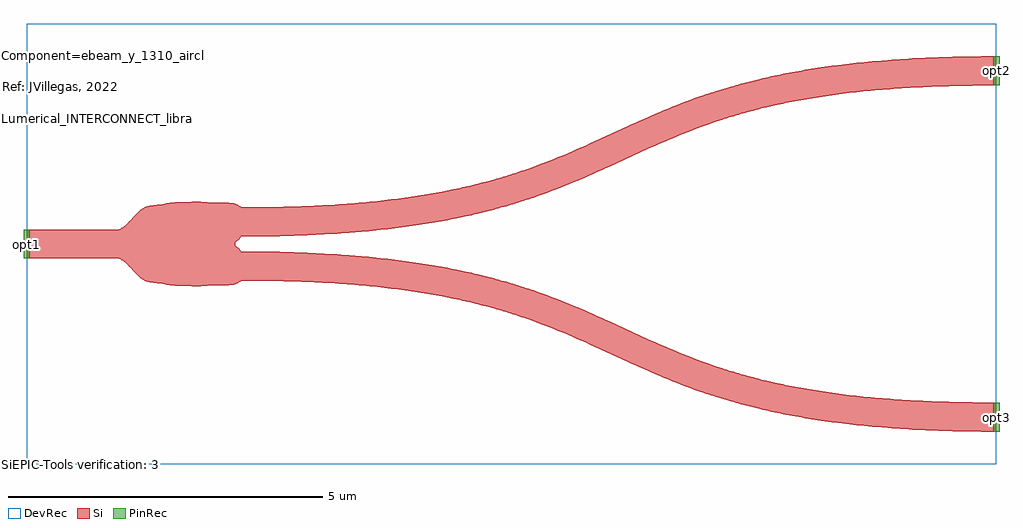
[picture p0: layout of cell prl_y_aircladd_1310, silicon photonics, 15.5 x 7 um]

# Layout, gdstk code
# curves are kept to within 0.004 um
import gdstk
lib = gdstk.Library(unit=1e-6, precision=1e-09)
def R(c, l, rs):  # rectangles x0, y0, x1, y1
    for r in rs: c.add(gdstk.rectangle(r[:2], r[2:], *l))
def P(c, l, *ps):  # polygons
    for p in ps: c.add(gdstk.Polygon(p, *l))
Si = (1, 0)
PinRec = (1, 10)
DevRec = (68, 0)

prl_y_aircladd_1310 = lib.new_cell('prl_y_aircladd_1310')
R(prl_y_aircladd_1310, Si, [(-7.4,-0.23,-6,0.23)])
P(prl_y_aircladd_1310, Si, [(-4.737,-0.67),(-5.081,-0.658),(-5.424,-0.609),(-5.505,-0.589),(-5.586,-0.543),(-5.848,-0.284),(-5.929,-0.236),(-5.97,-0.227),(-6.01,-0.23),(-6.01,0.23),(-5.949,0.23),(-5.889,0.256),(-5.828,0.301),(-5.667,0.468),(-5.586,0.543),(-5.505,0.589),(-5.424,0.609),(-5.081,0.658),(-4.657,0.67),(-4.152,0.651),(-4.091,0.639),(-4.01,0.597),(-3.99,0.58),(-3.99,0.12),(-4.03,0.069),(-4.086,0.031),(-4.086,-0.031),(-4.03,-0.069),(-3.99,-0.12),(-3.99,-0.58),(-4.03,-0.61),(-4.071,-0.631),(-4.152,-0.651)],
  [(7.841,-2.98),(7.456,-2.975),(6.808,-2.953),(6.341,-2.925),(5.845,-2.882),(5.386,-2.828),(5.064,-2.781),(4.663,-2.71),(4.245,-2.62),(3.737,-2.485),(3.54,-2.425),(3.204,-2.311),(2.923,-2.205),(2.59,-2.068),(1.415,-1.536),(0.909,-1.323),(0.64,-1.222),(0.357,-1.125),(0.056,-1.034),(-0.267,-0.948),(-0.614,-0.869),(-1.037,-0.79),(-1.447,-0.728),(-2.009,-0.664),(-2.501,-0.625),(-3.105,-0.595),(-4,-0.58),(-4,-0.12),(-3.456,-0.125),(-2.947,-0.141),(-2.471,-0.166),(-1.966,-0.206),(-1.386,-0.272),(-1.064,-0.319),(-0.663,-0.39),(-0.245,-0.48),(0.263,-0.615),(0.46,-0.675),(0.796,-0.789),(1.077,-0.895),(1.41,-1.032),(2.585,-1.564),(3.091,-1.777),(3.36,-1.878),(3.643,-1.975),(3.944,-2.066),(4.267,-2.152),(4.614,-2.231),(5.037,-2.31),(5.447,-2.372),(6.009,-2.436),(6.501,-2.475),(7.105,-2.505),(8,-2.52),(8,-2.98)],
  [(-4,0.12),(-4,0.58),(-3.105,0.595),(-2.501,0.625),(-2.009,0.664),(-1.555,0.714),(-1.037,0.79),(-0.614,0.869),(-0.267,0.948),(0.056,1.034),(0.357,1.125),(0.64,1.222),(0.909,1.323),(1.415,1.536),(2.59,2.068),(2.923,2.205),(3.204,2.311),(3.54,2.425),(3.737,2.485),(4.245,2.62),(4.663,2.71),(5.064,2.781),(5.386,2.828),(5.966,2.894),(6.471,2.934),(6.947,2.959),(7.456,2.975),(8,2.98),(8,2.52),(7.105,2.505),(6.501,2.475),(6.009,2.436),(5.555,2.386),(5.037,2.31),(4.614,2.231),(4.267,2.152),(3.944,2.066),(3.643,1.975),(3.36,1.878),(3.091,1.777),(2.585,1.564),(1.41,1.032),(1.077,0.895),(0.796,0.789),(0.46,0.675),(0.263,0.615),(-0.245,0.48),(-0.663,0.39),(-1.064,0.319),(-1.386,0.272),(-1.966,0.206),(-2.471,0.166),(-2.947,0.141),(-3.456,0.125)])
R(prl_y_aircladd_1310, DevRec, [(-7.4,-3.5,8,3.5)])
prl_y_aircladd_1310.add(gdstk.FlexPath([(7.95,2.75),(8.05,2.75)], 0.46, ends="flush", simple_path=True, layer=1, datatype=10))  # PinRec
prl_y_aircladd_1310.add(gdstk.FlexPath([(-7.35,0),(-7.45,0)], 0.46, ends="flush", simple_path=True, layer=1, datatype=10))  # PinRec
prl_y_aircladd_1310.add(gdstk.FlexPath([(7.95,-2.75),(8.05,-2.75)], 0.46, ends="flush", simple_path=True, layer=1, datatype=10))  # PinRec
prl_y_aircladd_1310.add(gdstk.Label('Lumerical_INTERCONNECT_library=NA', (-7,2), layer=68, texttype=0))
prl_y_aircladd_1310.add(gdstk.Label('Component=ebeam_y_1310_aircladd', (-7,3), layer=68, texttype=0))
prl_y_aircladd_1310.add(gdstk.Label('opt2', (8,2.75), layer=1, texttype=10))
prl_y_aircladd_1310.add(gdstk.Label('opt1', (-7.4,0), layer=1, texttype=10))
prl_y_aircladd_1310.add(gdstk.Label('opt3', (8,-2.75), layer=1, texttype=10))
prl_y_aircladd_1310.add(gdstk.Label('Ref: JVillegas, 2022', (-7,2.5), layer=10, texttype=0))

lib.write_gds('prl_y_aircladd_1310.gds')
